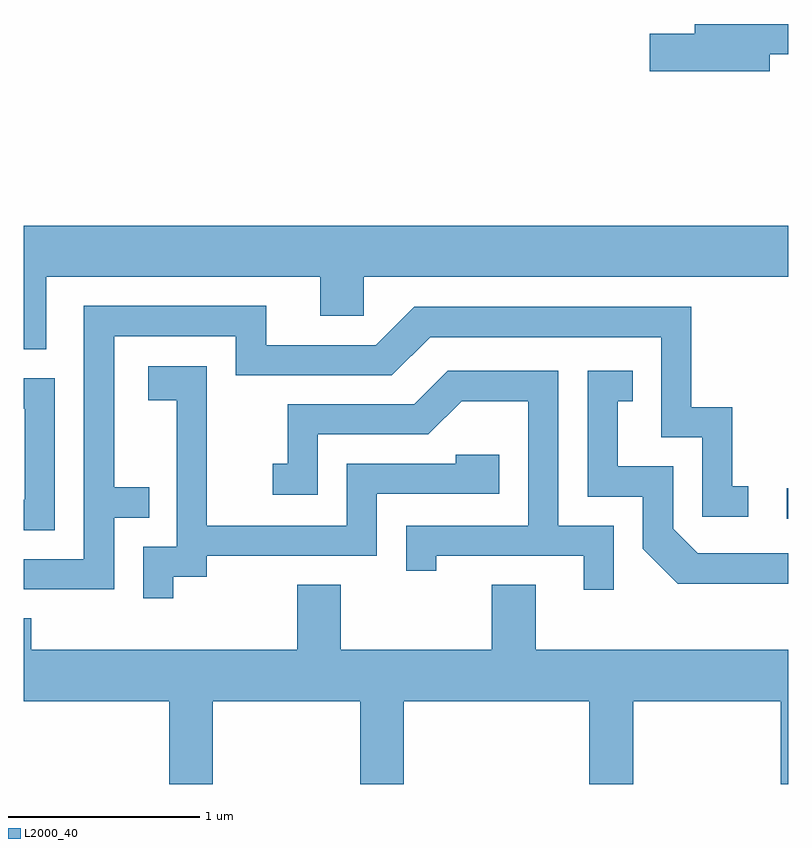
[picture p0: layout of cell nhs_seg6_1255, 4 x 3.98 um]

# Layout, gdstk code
import gdstk
lib = gdstk.Library(unit=1e-6, precision=1e-09)
def R(c, l, rs):  # rectangles x0, y0, x1, y1
    for r in rs: c.add(gdstk.rectangle(r[:2], r[2:], *l))
def P(c, l, *ps):  # polygons
    for p in ps: c.add(gdstk.Polygon(p, *l))
L2000_40 = (2000, 40)

nhs_seg6_1255 = lib.new_cell('nhs_seg6_1255')
R(nhs_seg6_1255, L2000_40, [(225.603,1657.551,225.611,1657.709)])
P(nhs_seg6_1255, L2000_40, [(225.514,1659.981),(225.611,1659.981),(225.611,1660.139),(225.121,1660.139),(225.121,1660.089),(224.886,1660.089),(224.886,1659.891),(225.514,1659.891)],
  [(221.729,1658.816),(223.161,1658.816),(223.161,1658.611),(223.389,1658.611),(223.389,1658.816),(225.611,1658.816),(225.611,1659.084),(221.611,1659.084),(221.611,1658.436),(221.729,1658.436)],
  [(222.084,1657.556),(222.268,1657.556),(222.268,1657.714),(222.084,1657.714),(222.084,1658.506),(222.721,1658.506),(222.721,1658.301),(223.537,1658.301),(223.737,1658.501),(224.946,1658.501),(224.946,1657.976),(225.161,1657.976),(225.161,1657.561),(225.403,1657.561),(225.403,1657.719),(225.319,1657.719),(225.319,1658.134),(225.104,1658.134),(225.104,1658.659),(223.654,1658.659),(223.454,1658.459),(222.879,1658.459),(222.879,1658.664),(221.926,1658.664),(221.926,1657.339),(221.611,1657.339),(221.611,1657.181),(222.084,1657.181)],
  [(222.394,1657.246),(222.569,1657.246),(222.569,1657.356),(223.459,1657.356),(223.459,1657.681),(224.099,1657.681),(224.099,1657.884),(223.871,1657.884),(223.871,1657.839),(223.301,1657.839),(223.301,1657.514),(222.569,1657.514),(222.569,1658.349),(222.261,1658.349),(222.261,1658.171),(222.411,1658.171),(222.411,1657.404),(222.236,1657.404),(222.236,1657.133),(222.394,1657.133)],
  [(225.611,1657.369),(225.137,1657.369),(225.009,1657.497),(225.009,1657.824),(224.719,1657.824),(224.719,1658.166),(224.798,1658.166),(224.798,1658.324),(224.561,1658.324),(224.561,1657.666),(224.851,1657.666),(224.851,1657.394),(225.034,1657.211),(225.611,1657.211)],
  [(224.699,1657.514),(224.409,1657.514),(224.409,1658.324),(223.829,1658.324),(223.654,1658.149),(222.991,1658.149),(222.991,1657.839),(222.913,1657.839),(222.913,1657.676),(223.149,1657.676),(223.149,1657.991),(223.727,1657.991),(223.902,1658.166),(224.251,1658.166),(224.251,1657.514),(223.611,1657.514),(223.611,1657.278),(223.769,1657.278),(223.769,1657.356),(224.541,1657.356),(224.541,1657.178),(224.699,1657.178)],
  [(221.774,1658.284),(221.611,1658.284),(221.611,1658.126),(221.616,1658.126),(221.616,1657.649),(221.611,1657.649),(221.611,1657.491),(221.774,1657.491)],
  [(222.599,1656.596),(223.371,1656.596),(223.371,1656.162),(223.599,1656.162),(223.599,1656.596),(224.571,1656.596),(224.571,1656.162),(224.799,1656.162),(224.799,1656.596),(225.571,1656.596),(225.571,1656.162),(225.611,1656.162),(225.611,1656.864),(224.289,1656.864),(224.289,1657.204),(224.061,1657.204),(224.061,1656.864),(223.269,1656.864),(223.269,1657.204),(223.041,1657.204),(223.041,1656.864),(221.649,1656.864),(221.649,1657.029),(221.611,1657.029),(221.611,1656.596),(222.371,1656.596),(222.371,1656.162),(222.599,1656.162)])

lib.write_gds('nhs_seg6_1255.gds')
